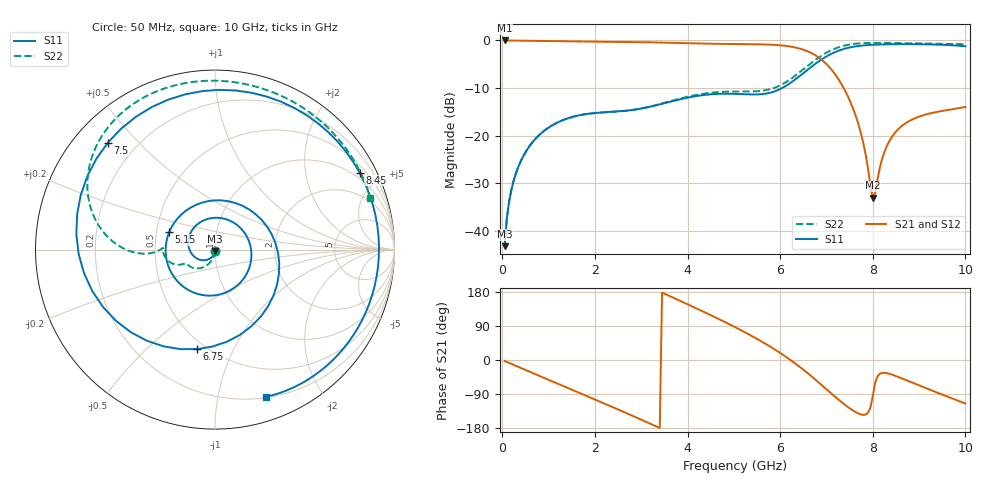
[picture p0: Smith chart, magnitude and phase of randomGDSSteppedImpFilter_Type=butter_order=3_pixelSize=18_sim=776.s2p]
! freq	dB(S11)	phase(S11)	dB(S12)	phase(S12)
!  dB(S21)	phase(S21)	dB(S22)	phase(S22)
!S-par simulation data
#  GHz  S  DB  R 50
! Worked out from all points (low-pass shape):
!   200 points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, 50 MHz to 10 GHz, reference 50 ohm
!   highest |S21| = -0.01 dB at 50 MHz (marker M1); lowest = -33.0 dB at 8 GHz (marker M2)
!   |S21| within 3 dB of the highest: start of sweep to 6.741 GHz
!   lowest |S11| = -43.2 dB at 50 MHz (marker M3), VSWR 1.01, Z = 50 - j0.688 ohm
!   |S11| at or under -10 dB: start of sweep to 6.044 GHz
!   |S22| runs from -43.2 to -0.5 dB; largest |S21 - S12| = 0
!   S11 on the Smith chart (normalised r, x): 50 MHz: 1.00, -0.01; 5.15 GHz: 0.58, +0.12; 6.75 GHz: 0.45, -0.73; 7.5 GHz: 0.10, +0.41; 8.45 GHz: 0.75, +3.87; 10 GHz: 0.21, -1.38
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0.05  -43.23 -93.0  -0.01 -2.7  -0.01 -2.7  -43.19 -91.3
0.2  -31.23 -103.8  -0.02 -10.5  -0.02 -10.5  -31.19 -97.1
0.5  -23.51 -125.0  -0.05 -26.2  -0.05 -26.2  -23.49 -108.0
1.75  -15.56 141.2  -0.23 -91.0  -0.23 -91.0  -15.58 -144.9
2.5  -14.91 72.2  -0.30 -130.5  -0.30 -130.5  -14.93 -154.4
3.4  -13.44 -22.3  -0.44 -179.4  -0.44 -179.4  -13.37 -156.7
4.25  -11.60 -106.3  -0.64 132.9  -0.64 132.9  -11.34 -167.5
5.05  -11.23 170.9  -0.76 85.2  -0.76 85.2  -10.73 180.0
5.15  -11.27 159.0  -0.77 78.9  -0.77 78.9  -10.73 179.1
5.65  -11.24 90.2  -0.84 45.2  -0.84 45.2  -10.52 179.1
6.05  -9.97 23.6  -1.07 14.6  -1.07 14.6  -9.19 -177.1
6.4  -7.65 -38.3  -1.65 -16.0  -1.65 -16.0  -6.85 -178.2
6.7  -5.35 -91.4  -2.78 -45.4  -2.78 -45.4  -4.54 173.9
6.75  -4.98 -100.3  -3.06 -50.6  -3.06 -50.6  -4.17 172.0
7.15  -2.60 -169.8  -6.64 -93.3  -6.64 -93.3  -1.85 151.6
7.5  -1.48 135.0  -12.57 -127.4  -12.57 -127.4  -0.86 131.1
7.8  -1.05 94.6  -21.77 -144.9  -21.77 -144.9  -0.57 114.6
8  -0.91 71.3  -33.05 -95.5  -33.05 -95.5  -0.52 104.5
8.35  -0.81 36.7  -21.29 -36.0  -21.29 -36.0  -0.53 88.1
8.45  -0.79 28.0  -19.77 -40.0  -19.77 -40.0  -0.55 83.6
9.1  -0.81 -19.1  -15.69 -72.1  -15.69 -72.1  -0.64 55.8
10  -1.23 -71.0  -13.99 -114.9  -13.99 -114.9  -0.80 18.5
